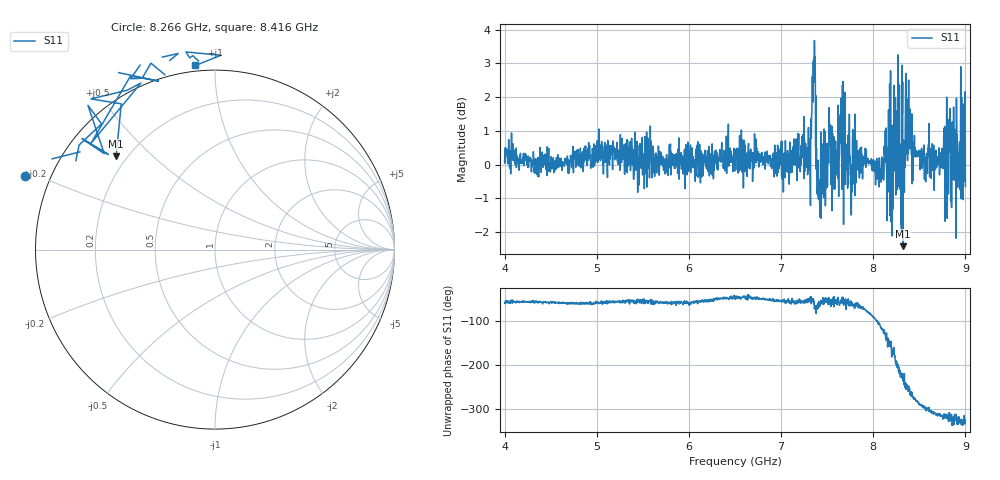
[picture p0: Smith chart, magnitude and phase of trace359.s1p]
! Created with skrf 1.8.0 (http://scikit-rf.org).
# Hz S RI R 50.0
!freq ReS11 ImS11
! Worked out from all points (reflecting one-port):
!   1601 points, 4 GHz to 9 GHz, reference 50 ohm
!   lowest |S11| = -2.4 dB at 8.322 GHz (marker M1), VSWR 7.23, Z = 7.98 + j19.4 ohm
!   phase of S11 starts at -59 deg and turns -267 deg over the sweep
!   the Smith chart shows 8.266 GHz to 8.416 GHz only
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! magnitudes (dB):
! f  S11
! 4 GHz  0.0
! 4.625 GHz  -0.2
! 5.25 GHz  -0.2
! 5.875 GHz  0.0
! 6.5 GHz  0.4
! 7.125 GHz  0.4
! 7.294 GHz  0.1
! 7.353 GHz  2.4
! 7.412 GHz  -0.7
! 7.525 GHz  1.0
! 7.591 GHz  0.7
! 7.647 GHz  1.2
! 7.75 GHz  0.2
! 8.066 GHz  0.2
! 8.156 GHz  0.2
! 8.209 GHz  0.5
! 8.244 GHz  -0.9
! 8.322 GHz  -2.4
! 8.334 GHz  0.1
! 8.347 GHz  1.0
! 8.375 GHz  1.5
! 8.447 GHz  0.9
! 8.556 GHz  -0.4
! 8.766 GHz  1.1
! 8.816 GHz  -0.9
! 8.919 GHz  -0.3
! 8.972 GHz  0.8
! 9 GHz  -0.7
